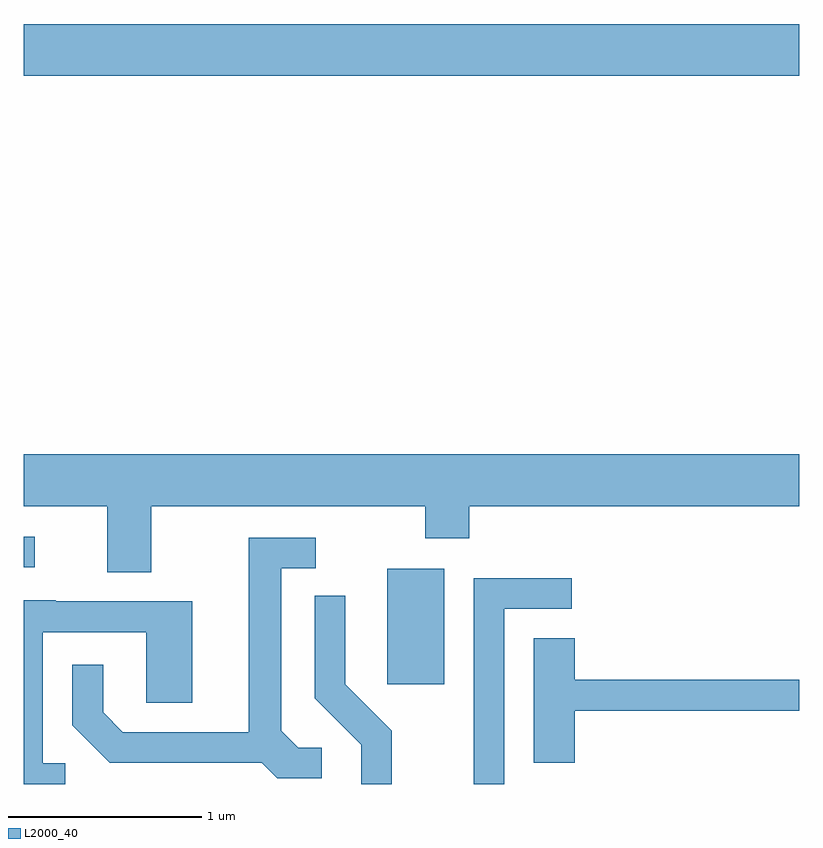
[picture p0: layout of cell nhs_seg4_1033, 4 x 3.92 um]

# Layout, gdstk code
import gdstk
lib = gdstk.Library(unit=1e-6, precision=1e-09)
def R(c, l, rs):  # rectangles x0, y0, x1, y1
    for r in rs: c.add(gdstk.rectangle(r[:2], r[2:], *l))
def P(c, l, *ps):  # polygons
    for p in ps: c.add(gdstk.Polygon(p, *l))
L2000_40 = (2000, 40)

nhs_seg4_1033 = lib.new_cell('nhs_seg4_1033')
R(nhs_seg4_1033, L2000_40, [(217.486,1280.496,217.779,1281.094), (215.611,1281.101,215.668,1281.259), (215.611,1283.636,219.611,1283.904)])
P(nhs_seg4_1033, L2000_40, [(216.269,1281.416),(217.681,1281.416),(217.681,1281.251),(217.909,1281.251),(217.909,1281.416),(219.611,1281.416),(219.611,1281.684),(215.611,1281.684),(215.611,1281.416),(216.041,1281.416),(216.041,1281.076),(216.269,1281.076)],
  [(217.148,1280.169),(217.027,1280.169),(216.939,1280.257),(216.939,1281.096),(217.118,1281.096),(217.118,1281.254),(216.771,1281.254),(216.771,1280.249),(216.122,1280.249),(216.019,1280.352),(216.019,1280.598),(215.861,1280.598),(215.861,1280.284),(216.054,1280.091),(216.839,1280.091),(216.919,1280.011),(217.148,1280.011)],
  [(218.089,1280.886),(218.438,1280.886),(218.438,1281.044),(217.931,1281.044),(217.931,1279.982),(218.089,1279.982)],
  [(217.509,1280.257),(217.269,1280.497),(217.269,1280.953),(217.111,1280.953),(217.111,1280.424),(217.351,1280.184),(217.351,1279.982),(217.509,1279.982)],
  [(215.823,1280.089),(215.709,1280.089),(215.709,1280.766),(216.241,1280.766),(216.241,1280.401),(216.479,1280.401),(216.479,1280.924),(215.775,1280.924),(215.775,1280.929),(215.611,1280.929),(215.611,1279.982),(215.823,1279.982)],
  [(218.454,1280.361),(219.611,1280.361),(219.611,1280.519),(218.454,1280.519),(218.454,1280.734),(218.241,1280.734),(218.241,1280.091),(218.454,1280.091)])

lib.write_gds('nhs_seg4_1033.gds')
